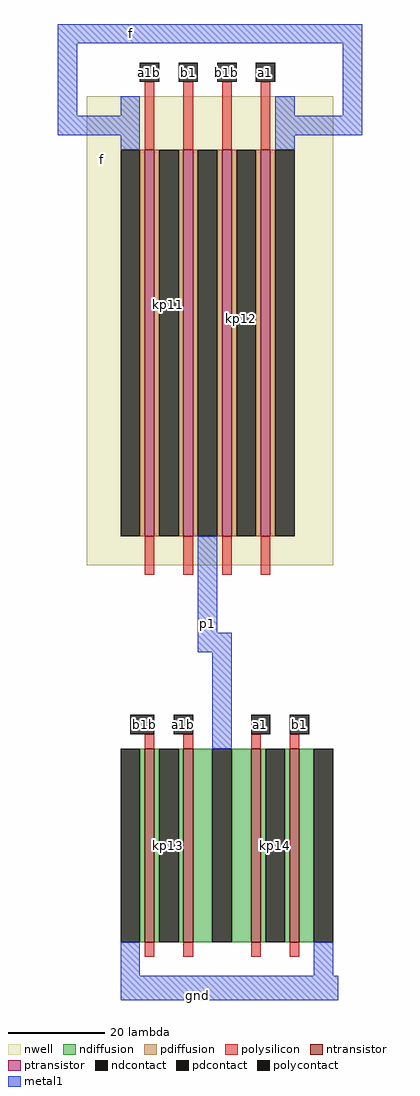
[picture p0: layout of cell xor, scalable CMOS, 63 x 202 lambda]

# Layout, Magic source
magic
tech scmos
<< nwell >>
rect 232 233 283 330
<< ntransistor >>
rect 244 155 246 195
rect 252 155 254 195
rect 266 155 268 195
rect 274 155 276 195
<< ptransistor >>
rect 244 239 246 319
rect 252 239 254 319
rect 260 239 262 319
rect 268 239 270 319
<< ndiffusion >>
rect 243 155 244 195
rect 246 155 247 195
rect 251 155 252 195
rect 254 155 258 195
rect 262 155 266 195
rect 268 155 269 195
rect 273 155 274 195
rect 276 155 279 195
<< pdiffusion >>
rect 243 239 244 319
rect 246 239 247 319
rect 251 239 252 319
rect 254 239 255 319
rect 259 239 260 319
rect 262 239 263 319
rect 267 239 268 319
rect 270 239 271 319
<< ndcontact >>
rect 239 155 243 195
rect 247 155 251 195
rect 258 155 262 195
rect 269 155 273 195
rect 279 155 283 195
<< pdcontact >>
rect 239 239 243 319
rect 247 239 251 319
rect 255 239 259 319
rect 263 239 267 319
rect 271 239 275 319
<< polysilicon >>
rect 244 319 246 333
rect 252 319 254 333
rect 260 319 262 333
rect 268 319 270 333
rect 244 231 246 239
rect 252 231 254 239
rect 260 231 262 239
rect 268 231 270 239
rect 244 195 246 198
rect 252 195 254 198
rect 266 195 268 198
rect 274 195 276 198
rect 244 152 246 155
rect 252 152 254 155
rect 266 152 268 155
rect 274 152 276 155
<< polycontact >>
rect 243 333 247 337
rect 251 333 255 337
rect 259 333 263 337
rect 267 333 271 337
rect 241 198 246 202
rect 250 198 254 202
rect 266 198 270 202
rect 274 198 278 202
<< metal1 >>
rect 226 341 289 345
rect 226 326 230 341
rect 239 326 243 330
rect 226 322 243 326
rect 239 319 243 322
rect 271 326 275 330
rect 285 326 289 341
rect 271 322 289 326
rect 271 319 275 322
rect 255 219 259 239
rect 255 215 262 219
rect 258 195 262 215
rect 239 148 243 155
rect 279 148 283 155
rect 239 143 284 148
<< labels >>
rlabel metal1 241 343 241 343 5 f
rlabel polycontact 245 335 245 335 1 a1b
rlabel polycontact 253 335 253 335 1 b1
rlabel polycontact 261 335 261 335 1 b1b
rlabel polycontact 269 335 269 335 1 a1
rlabel metal1 255 144 255 144 1 gnd
rlabel pdcontact 249 287 249 287 1 kp11
rlabel pdcontact 264 284 264 284 1 kp12
rlabel metal1 257 221 257 221 1 p1
rlabel ndcontact 249 175 249 175 1 kp13
rlabel ndcontact 271 175 271 175 1 kp14
rlabel polycontact 276 200 276 200 1 b1
rlabel polycontact 268 200 268 200 1 a1
rlabel polycontact 244 200 244 200 1 b1b
rlabel polycontact 252 200 252 200 1 a1b
rlabel nwell 235 317 235 317 1 f
<< end >>
